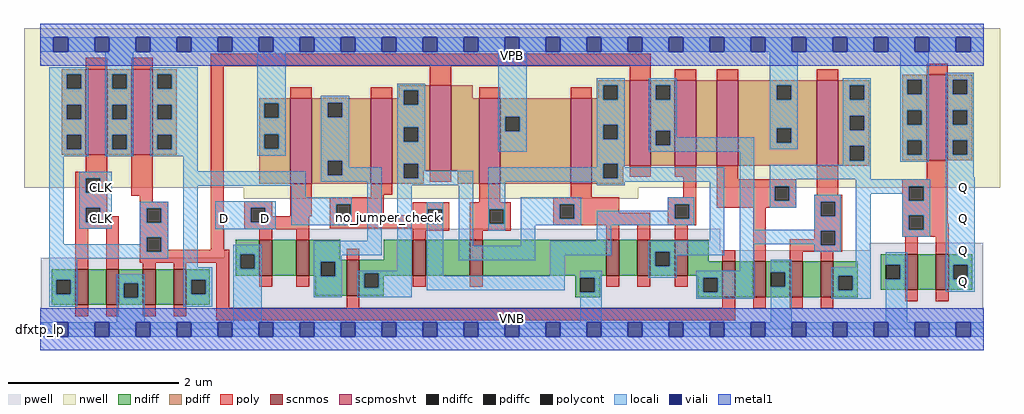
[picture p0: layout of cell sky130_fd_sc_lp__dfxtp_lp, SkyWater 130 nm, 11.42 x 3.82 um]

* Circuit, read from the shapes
.subckt sky130_fd_sc_lp__dfxtp_lp CLK D VGND VNB VPB VPWR Q
XM1 n1 CLK n2 VNB sky130_fd_pr__nfet_01v8 w=0.42 l=0.15
XM2 VGND CLK n1 VNB sky130_fd_pr__nfet_01v8 w=0.42 l=0.15
XM3 n3 n2 VGND VNB sky130_fd_pr__nfet_01v8 w=0.42 l=0.15
XM4 n4 n2 n3 VNB sky130_fd_pr__nfet_01v8 w=0.42 l=0.15
XM5 n5 D VGND VNB sky130_fd_pr__nfet_01v8 w=0.42 l=0.15
XM6 n6 D n5 VNB sky130_fd_pr__nfet_01v8 w=0.42 l=0.15
XM7 n7 n2 n6 VNB sky130_fd_pr__nfet_01v8 w=0.42 l=0.15
XM8 n8 n4 n7 VNB sky130_fd_pr__nfet_01v8 w=0.42 l=0.15
XM9 VGND n9 n8 VNB sky130_fd_pr__nfet_01v8 w=0.42 l=0.15
XM10 n10 n7 VGND VNB sky130_fd_pr__nfet_01v8 w=0.42 l=0.15
XM11 n9 n7 n10 VNB sky130_fd_pr__nfet_01v8 w=0.42 l=0.15
XM12 n11 n4 n9 VNB sky130_fd_pr__nfet_01v8 w=0.42 l=0.15
XM13 n12 n2 n11 VNB sky130_fd_pr__nfet_01v8 w=0.42 l=0.15
XM14 VGND n13 n12 VNB sky130_fd_pr__nfet_01v8 w=0.42 l=0.15
XM15 n14 n11 VGND VNB sky130_fd_pr__nfet_01v8 w=0.42 l=0.15
XM16 n13 n11 n14 VNB sky130_fd_pr__nfet_01v8 w=0.42 l=0.15
XM17 n15 n13 VGND VNB sky130_fd_pr__nfet_01v8 w=0.42 l=0.15
XM18 Q n13 n15 VNB sky130_fd_pr__nfet_01v8 w=0.42 l=0.15
XM19 VPWR CLK n2 VPB sky130_fd_pr__pfet_01v8_hvt w=1 l=0.25
XM20 n4 n2 VPWR VPB sky130_fd_pr__pfet_01v8_hvt w=1 l=0.25
XM21 n6 D VPWR VPB sky130_fd_pr__pfet_01v8_hvt w=1 l=0.25
XM22 n7 n4 n6 VPB sky130_fd_pr__pfet_01v8_hvt w=1 l=0.25
XM23 n16 n2 n7 VPB sky130_fd_pr__pfet_01v8_hvt w=1 l=0.25
XM24 VPWR n9 n16 VPB sky130_fd_pr__pfet_01v8_hvt w=1 l=0.25
XM25 n9 n7 VPWR VPB sky130_fd_pr__pfet_01v8_hvt w=1 l=0.25
XM26 n11 n2 n9 VPB sky130_fd_pr__pfet_01v8_hvt w=1 l=0.25
XM27 n17 n4 n11 VPB sky130_fd_pr__pfet_01v8_hvt w=1 l=0.25
XM28 VPWR n13 n17 VPB sky130_fd_pr__pfet_01v8_hvt w=1 l=0.25
XM29 n13 n11 VPWR VPB sky130_fd_pr__pfet_01v8_hvt w=1 l=0.25
XM30 Q n13 VPWR VPB sky130_fd_pr__pfet_01v8_hvt w=1 l=0.25
.ends

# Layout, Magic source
magic
tech sky130A
magscale 1 2
<< nwell >>
rect -38 331 2246 704
rect 476 305 1400 331
<< pwell >>
rect 431 185 1591 235
rect 1941 185 2207 202
rect 431 167 2207 185
rect 1 49 2207 167
rect 0 0 2208 49
<< scnmos >>
rect 82 57 112 141
rect 154 57 184 141
rect 240 57 270 141
rect 312 57 342 141
rect 513 125 543 209
rect 599 125 629 209
rect 717 79 747 163
rect 872 125 902 209
rect 1005 125 1035 209
rect 1325 125 1355 209
rect 1397 125 1427 209
rect 1485 125 1515 209
rect 1596 75 1626 159
rect 1668 75 1698 159
rect 1754 75 1784 159
rect 1826 75 1856 159
rect 2024 92 2054 176
rect 2096 92 2126 176
<< scpmoshvt >>
rect 107 409 157 609
rect 213 409 263 609
rect 585 341 635 541
rect 774 341 824 541
rect 912 371 962 571
rect 1027 341 1077 541
rect 1241 341 1291 541
rect 1379 383 1429 583
rect 1485 383 1535 583
rect 1583 383 1633 583
rect 1817 383 1867 583
rect 2074 396 2124 596
<< ndiff >>
rect 27 116 82 141
rect 27 82 37 116
rect 71 82 82 116
rect 27 57 82 82
rect 112 57 154 141
rect 184 108 240 141
rect 184 74 195 108
rect 229 74 240 108
rect 184 57 240 74
rect 270 57 312 141
rect 342 116 397 141
rect 342 82 353 116
rect 387 82 397 116
rect 342 57 397 82
rect 457 176 513 209
rect 457 142 468 176
rect 502 142 513 176
rect 457 125 513 142
rect 543 125 599 209
rect 629 163 702 209
rect 804 163 872 209
rect 629 158 717 163
rect 629 125 656 158
rect 644 124 656 125
rect 690 124 717 158
rect 644 79 717 124
rect 747 131 872 163
rect 747 97 758 131
rect 792 125 872 131
rect 902 125 1005 209
rect 1035 125 1325 209
rect 1355 125 1397 209
rect 1427 181 1485 209
rect 1427 147 1439 181
rect 1473 147 1485 181
rect 1427 125 1485 147
rect 1515 159 1565 209
rect 1515 125 1596 159
rect 792 97 804 125
rect 1252 121 1310 125
rect 747 79 804 97
rect 1252 87 1264 121
rect 1298 87 1310 121
rect 1539 121 1596 125
rect 1252 75 1310 87
rect 1539 87 1551 121
rect 1585 87 1596 121
rect 1539 75 1596 87
rect 1626 75 1668 159
rect 1698 134 1754 159
rect 1698 100 1709 134
rect 1743 100 1754 134
rect 1698 75 1754 100
rect 1784 75 1826 159
rect 1856 125 1913 159
rect 1856 91 1867 125
rect 1901 91 1913 125
rect 1967 151 2024 176
rect 1967 117 1979 151
rect 2013 117 2024 151
rect 1967 92 2024 117
rect 2054 92 2096 176
rect 2126 151 2181 176
rect 2126 117 2137 151
rect 2171 117 2181 151
rect 2126 92 2181 117
rect 1856 75 1913 91
<< pdiff >>
rect 50 597 107 609
rect 50 563 62 597
rect 96 563 107 597
rect 50 526 107 563
rect 50 492 62 526
rect 96 492 107 526
rect 50 455 107 492
rect 50 421 62 455
rect 96 421 107 455
rect 50 409 107 421
rect 157 597 213 609
rect 157 563 168 597
rect 202 563 213 597
rect 157 526 213 563
rect 157 492 168 526
rect 202 492 213 526
rect 157 455 213 492
rect 157 421 168 455
rect 202 421 213 455
rect 157 409 213 421
rect 263 597 320 609
rect 263 563 274 597
rect 308 563 320 597
rect 263 526 320 563
rect 263 492 274 526
rect 308 492 320 526
rect 263 455 320 492
rect 263 421 274 455
rect 308 421 320 455
rect 263 409 320 421
rect 2017 584 2074 596
rect 1306 571 1379 583
rect 661 541 719 542
rect 839 559 912 571
rect 839 541 851 559
rect 512 529 585 541
rect 512 495 524 529
rect 558 495 585 529
rect 512 456 585 495
rect 512 422 524 456
rect 558 422 585 456
rect 512 341 585 422
rect 635 530 774 541
rect 635 496 673 530
rect 707 496 774 530
rect 635 395 774 496
rect 635 361 673 395
rect 707 361 774 395
rect 635 341 774 361
rect 824 525 851 541
rect 885 525 912 559
rect 824 473 912 525
rect 824 439 851 473
rect 885 439 912 473
rect 824 387 912 439
rect 824 353 851 387
rect 885 371 912 387
rect 962 541 1012 571
rect 1306 541 1318 571
rect 962 371 1027 541
rect 885 353 897 371
rect 824 341 897 353
rect 977 341 1027 371
rect 1077 497 1241 541
rect 1077 463 1088 497
rect 1122 463 1241 497
rect 1077 341 1241 463
rect 1291 537 1318 541
rect 1352 537 1379 571
rect 1291 479 1379 537
rect 1291 445 1318 479
rect 1352 445 1379 479
rect 1291 387 1379 445
rect 1291 353 1318 387
rect 1352 383 1379 387
rect 1429 571 1485 583
rect 1429 537 1440 571
rect 1474 537 1485 571
rect 1429 465 1485 537
rect 1429 431 1440 465
rect 1474 431 1485 465
rect 1429 383 1485 431
rect 1535 383 1583 583
rect 1633 571 1817 583
rect 1633 537 1723 571
rect 1757 537 1817 571
rect 1633 471 1817 537
rect 1633 437 1723 471
rect 1757 437 1817 471
rect 1633 383 1817 437
rect 1867 571 1940 583
rect 1867 537 1894 571
rect 1928 537 1940 571
rect 1867 500 1940 537
rect 1867 466 1894 500
rect 1928 466 1940 500
rect 1867 429 1940 466
rect 1867 395 1894 429
rect 1928 395 1940 429
rect 2017 550 2029 584
rect 2063 550 2074 584
rect 2017 513 2074 550
rect 2017 479 2029 513
rect 2063 479 2074 513
rect 2017 442 2074 479
rect 2017 408 2029 442
rect 2063 408 2074 442
rect 2017 396 2074 408
rect 2124 584 2181 596
rect 2124 550 2135 584
rect 2169 550 2181 584
rect 2124 513 2181 550
rect 2124 479 2135 513
rect 2169 479 2181 513
rect 2124 442 2181 479
rect 2124 408 2135 442
rect 2169 408 2181 442
rect 2124 396 2181 408
rect 1867 383 1940 395
rect 1352 353 1364 383
rect 1291 341 1364 353
<< ndiffc >>
rect 37 82 71 116
rect 195 74 229 108
rect 353 82 387 116
rect 468 142 502 176
rect 656 124 690 158
rect 758 97 792 131
rect 1439 147 1473 181
rect 1264 87 1298 121
rect 1551 87 1585 121
rect 1709 100 1743 134
rect 1867 91 1901 125
rect 1979 117 2013 151
rect 2137 117 2171 151
<< pdiffc >>
rect 62 563 96 597
rect 62 492 96 526
rect 62 421 96 455
rect 168 563 202 597
rect 168 492 202 526
rect 168 421 202 455
rect 274 563 308 597
rect 274 492 308 526
rect 274 421 308 455
rect 524 495 558 529
rect 524 422 558 456
rect 673 496 707 530
rect 673 361 707 395
rect 851 525 885 559
rect 851 439 885 473
rect 851 353 885 387
rect 1088 463 1122 497
rect 1318 537 1352 571
rect 1318 445 1352 479
rect 1318 353 1352 387
rect 1440 537 1474 571
rect 1440 431 1474 465
rect 1723 537 1757 571
rect 1723 437 1757 471
rect 1894 537 1928 571
rect 1894 466 1928 500
rect 1894 395 1928 429
rect 2029 550 2063 584
rect 2029 479 2063 513
rect 2029 408 2063 442
rect 2135 550 2169 584
rect 2135 479 2169 513
rect 2135 408 2169 442
<< poly >>
rect 107 609 157 635
rect 213 609 263 635
rect 399 615 1429 645
rect 107 369 157 409
rect 82 353 157 369
rect 82 319 107 353
rect 141 319 157 353
rect 82 285 157 319
rect 213 313 263 409
rect 82 251 107 285
rect 141 265 157 285
rect 233 299 263 313
rect 233 283 299 299
rect 141 251 184 265
rect 82 235 184 251
rect 82 141 112 235
rect 154 141 184 235
rect 233 249 249 283
rect 283 249 299 283
rect 233 215 299 249
rect 233 181 249 215
rect 283 186 299 215
rect 399 186 429 615
rect 912 571 962 615
rect 1379 583 1429 615
rect 1485 583 1535 609
rect 1583 583 1633 609
rect 1817 583 1867 609
rect 2074 596 2124 622
rect 585 541 635 567
rect 774 541 824 567
rect 1027 541 1077 567
rect 1241 541 1291 567
rect 912 345 962 371
rect 1379 357 1429 383
rect 1485 357 1535 383
rect 477 284 543 300
rect 477 250 493 284
rect 527 264 543 284
rect 585 264 635 341
rect 774 315 824 341
rect 774 309 804 315
rect 677 293 804 309
rect 1027 297 1077 341
rect 1241 309 1291 341
rect 1505 309 1535 357
rect 527 250 629 264
rect 477 234 629 250
rect 677 259 693 293
rect 727 267 804 293
rect 872 281 957 297
rect 872 267 907 281
rect 727 259 907 267
rect 677 247 907 259
rect 941 247 957 281
rect 677 237 957 247
rect 513 209 543 234
rect 599 209 629 234
rect 872 231 957 237
rect 1005 281 1101 297
rect 1005 247 1051 281
rect 1085 247 1101 281
rect 1005 231 1101 247
rect 1200 293 1355 309
rect 1200 259 1216 293
rect 1250 273 1355 293
rect 1469 293 1535 309
rect 1250 259 1427 273
rect 1200 243 1427 259
rect 1469 259 1485 293
rect 1519 259 1535 293
rect 1583 351 1633 383
rect 1583 335 1769 351
rect 1583 301 1719 335
rect 1753 301 1769 335
rect 1817 315 1867 383
rect 2074 351 2124 396
rect 2017 335 2124 351
rect 1583 285 1769 301
rect 1811 299 1877 315
rect 1469 243 1535 259
rect 872 209 902 231
rect 1005 209 1035 231
rect 1325 209 1355 243
rect 1397 209 1427 243
rect 1485 209 1515 243
rect 283 181 442 186
rect 233 156 442 181
rect 240 141 270 156
rect 312 141 342 156
rect 82 31 112 57
rect 154 31 184 57
rect 240 31 270 57
rect 312 31 342 57
rect 412 51 442 156
rect 717 163 747 189
rect 513 99 543 125
rect 599 99 629 125
rect 1596 159 1626 185
rect 1668 159 1698 285
rect 1811 265 1827 299
rect 1861 265 1877 299
rect 1811 231 1877 265
rect 1811 211 1827 231
rect 1754 197 1827 211
rect 1861 197 1877 231
rect 2017 301 2033 335
rect 2067 301 2124 335
rect 2017 267 2124 301
rect 2017 233 2033 267
rect 2067 247 2124 267
rect 2067 233 2126 247
rect 2017 217 2126 233
rect 1754 181 1877 197
rect 1754 159 1784 181
rect 1826 159 1856 181
rect 2024 176 2054 217
rect 2096 176 2126 217
rect 872 99 902 125
rect 1005 99 1035 125
rect 1325 99 1355 125
rect 1397 99 1427 125
rect 1485 99 1515 125
rect 717 51 747 79
rect 1596 51 1626 75
rect 412 21 1626 51
rect 1668 49 1698 75
rect 1754 49 1784 75
rect 1826 49 1856 75
rect 2024 66 2054 92
rect 2096 66 2126 92
<< polycont >>
rect 107 319 141 353
rect 107 251 141 285
rect 249 249 283 283
rect 249 181 283 215
rect 493 250 527 284
rect 693 259 727 293
rect 907 247 941 281
rect 1051 247 1085 281
rect 1216 259 1250 293
rect 1485 259 1519 293
rect 1719 301 1753 335
rect 1827 265 1861 299
rect 1827 197 1861 231
rect 2033 301 2067 335
rect 2033 233 2067 267
<< locali >>
rect 0 649 31 683
rect 65 649 127 683
rect 161 649 223 683
rect 257 649 319 683
rect 353 649 415 683
rect 449 649 511 683
rect 545 649 607 683
rect 641 649 703 683
rect 737 649 799 683
rect 833 649 895 683
rect 929 649 991 683
rect 1025 649 1087 683
rect 1121 649 1183 683
rect 1217 649 1279 683
rect 1313 649 1375 683
rect 1409 649 1471 683
rect 1505 649 1567 683
rect 1601 649 1663 683
rect 1697 649 1759 683
rect 1793 649 1855 683
rect 1889 649 1951 683
rect 1985 649 2047 683
rect 2081 649 2143 683
rect 2177 649 2208 683
rect 21 597 112 613
rect 21 563 62 597
rect 96 563 112 597
rect 21 526 112 563
rect 21 492 62 526
rect 96 492 112 526
rect 21 455 112 492
rect 21 421 62 455
rect 96 421 112 455
rect 21 405 112 421
rect 152 597 218 649
rect 152 563 168 597
rect 202 563 218 597
rect 152 526 218 563
rect 152 492 168 526
rect 202 492 218 526
rect 152 455 218 492
rect 152 421 168 455
rect 202 421 218 455
rect 152 405 218 421
rect 258 597 369 613
rect 258 563 274 597
rect 308 563 369 597
rect 258 526 369 563
rect 258 492 274 526
rect 308 492 369 526
rect 258 455 369 492
rect 258 421 274 455
rect 308 421 369 455
rect 258 405 369 421
rect 508 529 574 649
rect 835 559 901 575
rect 508 495 524 529
rect 558 495 574 529
rect 508 456 574 495
rect 508 422 524 456
rect 558 422 574 456
rect 508 406 574 422
rect 657 530 723 546
rect 657 496 673 530
rect 707 496 723 530
rect 21 199 55 405
rect 335 370 369 405
rect 657 395 723 496
rect 91 353 167 369
rect 91 319 107 353
rect 141 319 167 353
rect 91 285 167 319
rect 335 336 621 370
rect 657 361 673 395
rect 707 379 723 395
rect 835 525 851 559
rect 885 525 901 559
rect 835 473 901 525
rect 835 439 851 473
rect 885 439 901 473
rect 835 387 901 439
rect 1072 497 1138 649
rect 1072 463 1088 497
rect 1122 463 1138 497
rect 1072 415 1138 463
rect 1302 571 1368 587
rect 1302 537 1318 571
rect 1352 537 1368 571
rect 1302 479 1368 537
rect 1302 445 1318 479
rect 1352 445 1368 479
rect 707 361 799 379
rect 657 345 799 361
rect 91 251 107 285
rect 141 251 167 285
rect 91 235 167 251
rect 233 283 299 299
rect 233 249 249 283
rect 283 249 299 283
rect 233 215 299 249
rect 233 199 249 215
rect 21 181 249 199
rect 283 181 299 215
rect 21 165 299 181
rect 21 116 87 165
rect 335 145 369 336
rect 587 309 621 336
rect 409 284 551 300
rect 409 250 493 284
rect 527 250 551 284
rect 409 234 551 250
rect 587 293 729 309
rect 587 259 693 293
rect 727 259 729 293
rect 587 243 729 259
rect 765 207 799 345
rect 452 176 518 198
rect 21 82 37 116
rect 71 82 87 116
rect 21 53 87 82
rect 179 108 245 129
rect 179 74 195 108
rect 229 74 245 108
rect 179 17 245 74
rect 335 116 403 145
rect 335 82 353 116
rect 387 82 403 116
rect 335 53 403 82
rect 452 142 468 176
rect 502 142 518 176
rect 452 17 518 142
rect 640 173 799 207
rect 835 353 851 387
rect 885 371 901 387
rect 1302 387 1368 445
rect 1424 571 1490 587
rect 1424 537 1440 571
rect 1474 537 1490 571
rect 1424 465 1490 537
rect 1424 431 1440 465
rect 1474 449 1490 465
rect 1707 571 1773 649
rect 1707 537 1723 571
rect 1757 537 1773 571
rect 1707 471 1773 537
rect 1474 431 1671 449
rect 1424 415 1671 431
rect 1707 437 1723 471
rect 1757 437 1773 471
rect 1707 421 1773 437
rect 1878 571 1944 587
rect 1878 537 1894 571
rect 1928 537 1944 571
rect 1878 500 1944 537
rect 1878 466 1894 500
rect 1928 466 1944 500
rect 1878 429 1944 466
rect 1302 379 1318 387
rect 885 353 1013 371
rect 835 337 1013 353
rect 640 158 706 173
rect 640 124 656 158
rect 690 124 706 158
rect 835 137 869 337
rect 640 75 706 124
rect 742 131 869 137
rect 742 97 758 131
rect 792 97 869 131
rect 742 75 869 97
rect 905 281 943 297
rect 905 247 907 281
rect 941 247 943 281
rect 905 125 943 247
rect 979 195 1013 337
rect 1049 353 1318 379
rect 1352 379 1368 387
rect 1352 353 1601 379
rect 1049 345 1601 353
rect 1049 281 1088 345
rect 1302 337 1368 345
rect 1049 247 1051 281
rect 1085 247 1088 281
rect 1049 231 1088 247
rect 1124 293 1266 309
rect 1124 259 1216 293
rect 1250 259 1266 293
rect 1469 293 1531 309
rect 1469 277 1485 293
rect 1124 243 1266 259
rect 1302 259 1485 277
rect 1519 259 1531 293
rect 1302 243 1531 259
rect 1124 195 1158 243
rect 1302 207 1336 243
rect 1567 207 1601 345
rect 979 161 1158 195
rect 1194 173 1336 207
rect 1423 181 1601 207
rect 1194 125 1228 173
rect 1423 147 1439 181
rect 1473 173 1601 181
rect 1637 233 1671 415
rect 1878 395 1894 429
rect 1928 395 1944 429
rect 1878 385 1944 395
rect 2013 584 2079 649
rect 2013 550 2029 584
rect 2063 550 2079 584
rect 2013 513 2079 550
rect 2013 479 2029 513
rect 2063 479 2079 513
rect 2013 442 2079 479
rect 2013 408 2029 442
rect 2063 408 2079 442
rect 2013 392 2079 408
rect 2119 584 2185 600
rect 2119 550 2135 584
rect 2169 550 2185 584
rect 2119 513 2185 550
rect 2119 479 2135 513
rect 2169 479 2185 513
rect 2119 442 2185 479
rect 2119 408 2135 442
rect 2169 408 2185 442
rect 1707 351 1944 385
rect 2119 356 2185 408
rect 1707 335 1769 351
rect 1707 301 1719 335
rect 1753 301 1769 335
rect 1909 335 2083 351
rect 1909 317 2033 335
rect 1707 285 1769 301
rect 1811 299 1873 315
rect 1811 265 1827 299
rect 1861 265 1873 299
rect 1811 233 1873 265
rect 1637 231 1873 233
rect 1637 199 1827 231
rect 1473 147 1489 173
rect 905 91 1228 125
rect 1264 121 1314 137
rect 1423 121 1489 147
rect 1637 137 1671 199
rect 1811 197 1827 199
rect 1861 197 1873 231
rect 1811 181 1873 197
rect 1535 121 1671 137
rect 1298 87 1314 121
rect 1264 17 1314 87
rect 1535 87 1551 121
rect 1585 87 1671 121
rect 1535 71 1671 87
rect 1709 134 1759 163
rect 1909 145 1943 317
rect 2017 301 2033 317
rect 2067 301 2083 335
rect 2017 267 2083 301
rect 2017 233 2033 267
rect 2067 233 2083 267
rect 2017 217 2083 233
rect 1743 100 1759 134
rect 1709 17 1759 100
rect 1851 125 1943 145
rect 1851 91 1867 125
rect 1901 91 1943 125
rect 1851 71 1943 91
rect 1979 151 2029 180
rect 2013 117 2029 151
rect 1979 17 2029 117
rect 2119 151 2187 356
rect 2119 117 2137 151
rect 2171 117 2187 151
rect 2119 88 2187 117
rect 0 -17 31 17
rect 65 -17 127 17
rect 161 -17 223 17
rect 257 -17 319 17
rect 353 -17 415 17
rect 449 -17 511 17
rect 545 -17 607 17
rect 641 -17 703 17
rect 737 -17 799 17
rect 833 -17 895 17
rect 929 -17 991 17
rect 1025 -17 1087 17
rect 1121 -17 1183 17
rect 1217 -17 1279 17
rect 1313 -17 1375 17
rect 1409 -17 1471 17
rect 1505 -17 1567 17
rect 1601 -17 1663 17
rect 1697 -17 1759 17
rect 1793 -17 1855 17
rect 1889 -17 1951 17
rect 1985 -17 2047 17
rect 2081 -17 2143 17
rect 2177 -17 2208 17
<< viali >>
rect 31 649 65 683
rect 127 649 161 683
rect 223 649 257 683
rect 319 649 353 683
rect 415 649 449 683
rect 511 649 545 683
rect 607 649 641 683
rect 703 649 737 683
rect 799 649 833 683
rect 895 649 929 683
rect 991 649 1025 683
rect 1087 649 1121 683
rect 1183 649 1217 683
rect 1279 649 1313 683
rect 1375 649 1409 683
rect 1471 649 1505 683
rect 1567 649 1601 683
rect 1663 649 1697 683
rect 1759 649 1793 683
rect 1855 649 1889 683
rect 1951 649 1985 683
rect 2047 649 2081 683
rect 2143 649 2177 683
rect 31 -17 65 17
rect 127 -17 161 17
rect 223 -17 257 17
rect 319 -17 353 17
rect 415 -17 449 17
rect 511 -17 545 17
rect 607 -17 641 17
rect 703 -17 737 17
rect 799 -17 833 17
rect 895 -17 929 17
rect 991 -17 1025 17
rect 1087 -17 1121 17
rect 1183 -17 1217 17
rect 1279 -17 1313 17
rect 1375 -17 1409 17
rect 1471 -17 1505 17
rect 1567 -17 1601 17
rect 1663 -17 1697 17
rect 1759 -17 1793 17
rect 1855 -17 1889 17
rect 1951 -17 1985 17
rect 2047 -17 2081 17
rect 2143 -17 2177 17
<< metal1 >>
rect 0 683 2208 715
rect 0 649 31 683
rect 65 649 127 683
rect 161 649 223 683
rect 257 649 319 683
rect 353 649 415 683
rect 449 649 511 683
rect 545 649 607 683
rect 641 649 703 683
rect 737 649 799 683
rect 833 649 895 683
rect 929 649 991 683
rect 1025 649 1087 683
rect 1121 649 1183 683
rect 1217 649 1279 683
rect 1313 649 1375 683
rect 1409 649 1471 683
rect 1505 649 1567 683
rect 1601 649 1663 683
rect 1697 649 1759 683
rect 1793 649 1855 683
rect 1889 649 1951 683
rect 1985 649 2047 683
rect 2081 649 2143 683
rect 2177 649 2208 683
rect 0 617 2208 649
rect 0 17 2208 49
rect 0 -17 31 17
rect 65 -17 127 17
rect 161 -17 223 17
rect 257 -17 319 17
rect 353 -17 415 17
rect 449 -17 511 17
rect 545 -17 607 17
rect 641 -17 703 17
rect 737 -17 799 17
rect 833 -17 895 17
rect 929 -17 991 17
rect 1025 -17 1087 17
rect 1121 -17 1183 17
rect 1217 -17 1279 17
rect 1313 -17 1375 17
rect 1409 -17 1471 17
rect 1505 -17 1567 17
rect 1601 -17 1663 17
rect 1697 -17 1759 17
rect 1793 -17 1855 17
rect 1889 -17 1951 17
rect 1985 -17 2047 17
rect 2081 -17 2143 17
rect 2177 -17 2208 17
rect 0 -49 2208 -17
<< labels >>
flabel pwell s 0 0 2208 49 0 FreeSans 200 0 0 0 VNB
port 4 nsew ground bidirectional
flabel nwell s 0 617 2208 666 0 FreeSans 200 0 0 0 VPB
port 5 nsew power bidirectional
rlabel comment s 0 0 0 0 4 dfxtp_lp
flabel comment s 814 261 814 261 0 FreeSans 200 180 0 0 no_jumper_check
flabel metal1 s 0 617 2208 666 0 FreeSans 340 0 0 0 VPWR
port 6 nsew power bidirectional
flabel metal1 s 0 0 2208 49 0 FreeSans 340 0 0 0 VGND
port 3 nsew ground bidirectional
flabel locali s 127 242 161 276 0 FreeSans 340 0 0 0 CLK
port 1 nsew clock input
flabel locali s 127 316 161 350 0 FreeSans 340 0 0 0 CLK
port 1 nsew clock input
flabel locali s 415 242 449 276 0 FreeSans 340 0 0 0 D
port 2 nsew signal input
flabel locali s 511 242 545 276 0 FreeSans 340 0 0 0 D
port 2 nsew signal input
flabel locali s 2143 94 2177 128 0 FreeSans 340 0 0 0 Q
port 7 nsew signal output
flabel locali s 2143 168 2177 202 0 FreeSans 340 0 0 0 Q
port 7 nsew signal output
flabel locali s 2143 242 2177 276 0 FreeSans 340 0 0 0 Q
port 7 nsew signal output
flabel locali s 2143 316 2177 350 0 FreeSans 340 0 0 0 Q
port 7 nsew signal output
<< properties >>
string LEFsite unit
string LEFclass CORE
string FIXED_BBOX 0 0 2208 666
string GDS_FILE $PDKPATH/libs.ref/sky130_fd_sc_lp/gds/sky130_fd_sc_lp.gds
string LEFsymmetry X Y R90
string GDS_END 846998
string GDS_START 832924
<< end >>
